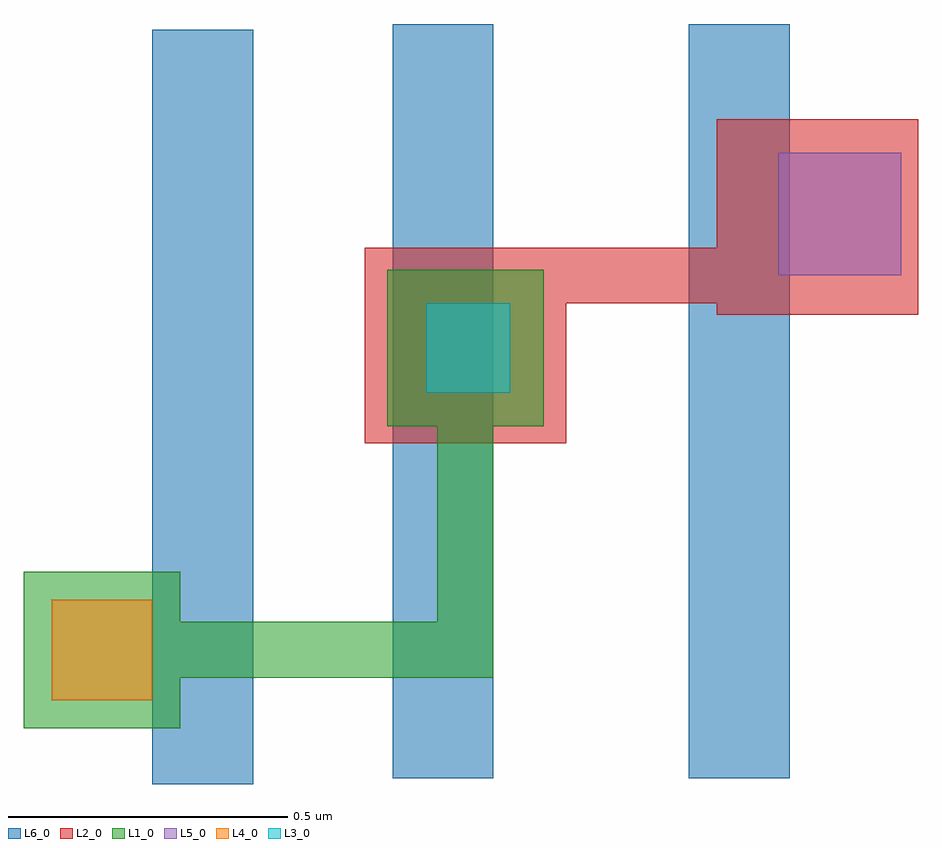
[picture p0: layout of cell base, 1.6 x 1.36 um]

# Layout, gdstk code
import gdstk
lib = gdstk.Library(unit=1e-6, precision=1e-09)
def R(c, l, rs):  # rectangles x0, y0, x1, y1
    for r in rs: c.add(gdstk.rectangle(r[:2], r[2:], *l))
L1_0 = (1, 0)
L2_0 = (2, 0)
L3_0 = (3, 0)
L4_0 = (4, 0)
L5_0 = (5, 0)
L6_0 = (6, 0)

base = lib.new_cell('base')
R(base, L1_0, [(-0.22,-0.07,0.06,0.21), (0.02,0.02,0.62,0.12), (0.52,0.02,0.62,0.62), (0.43,0.47,0.71,0.75)])
R(base, L2_0, [(0.39,0.44,0.75,0.79), (1.02,0.67,1.38,1.02), (0.67,0.69,1.12,0.79)])
R(base, L3_0, [(0.5,0.53,0.65,0.69)])
R(base, L4_0, [(-0.17,-0.02,0.01,0.16)])
R(base, L5_0, [(1.13,0.74,1.35,0.96)])
R(base, L6_0, [(0.01,-0.17,0.19,1.18), (0.44,-0.16,0.62,1.19), (0.97,-0.16,1.15,1.19)])

lib.write_gds('base.gds')
